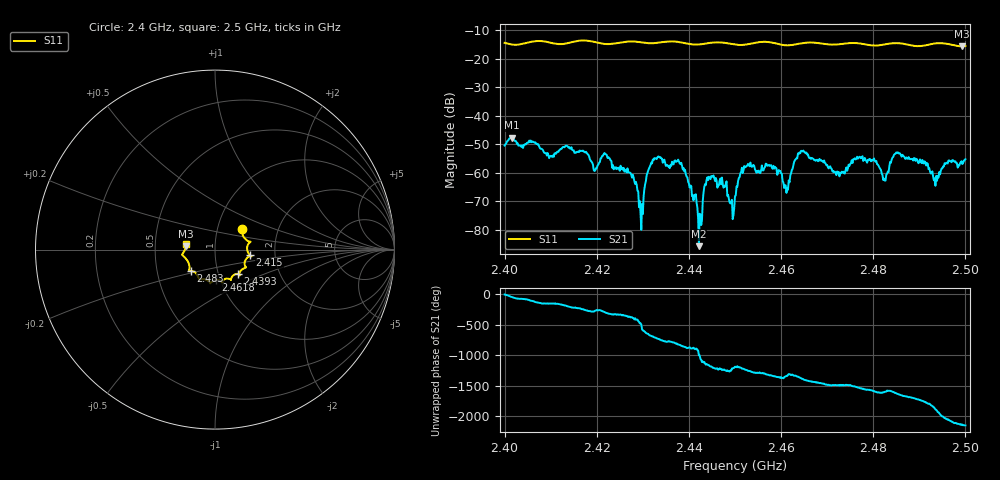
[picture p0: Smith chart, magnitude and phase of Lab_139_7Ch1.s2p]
# Hz S RI R 50
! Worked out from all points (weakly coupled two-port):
!   601 points, 2.4 GHz to 2.5 GHz, reference 50 ohm
!   highest |S21| = -47.76 dB at 2.4017 GHz (marker M1); lowest = -85.7 dB at 2.4422 GHz (marker M2)
!   lowest |S11| = -15.7 dB at 2.4992 GHz (marker M3), VSWR 1.39, Z = 36 + j1.34 ohm
!   |S11| at or under -10 dB: start of sweep to end of sweep
!   S12 and S22 are empty: the file has one direction only
!   S11 on the Smith chart (normalised r, x): 2.4 GHz: 1.31, +0.31; 2.415 GHz: 1.48, -0.10; 2.4393 GHz: 1.23, -0.35; 2.4618 GHz: 0.95, -0.33; 2.483 GHz: 0.74, -0.18; 2.5 GHz: 0.72, +0.05
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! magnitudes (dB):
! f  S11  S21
! 2.4 GHz  -14.5  -50.5
! 2.4017 GHz  -15.1  -47.8
! 2.415 GHz  -14.1  -52.1
! 2.4167 GHz  -13.7  -52.3
! 2.4272 GHz  -14.0  -59.9
! 2.4297 GHz  -14.3  -79.9
! 2.4313 GHz  -14.6  -58.5
! 2.4333 GHz  -14.4  -54.3
! 2.4393 GHz  -14.7  -60.6
! 2.4422 GHz  -15.1  -85.7
! 2.4448 GHz  -14.5  -61.2
! 2.45 GHz  -15.1  -68.2
! 2.4528 GHz  -15.0  -56.9
! 2.4618 GHz  -15.3  -63.3
! 2.4642 GHz  -14.7  -53.2
! 2.4667 GHz  -14.4  -54.8
! 2.483 GHz  -14.9  -60.3
! 2.4833 GHz  -14.8  -59.7
! 2.4853 GHz  -14.6  -52.9
! 2.4935 GHz  -14.7  -64.5
! 2.4992 GHz  -15.7  -56.0
! 2.5 GHz  -15.6  -55.3
